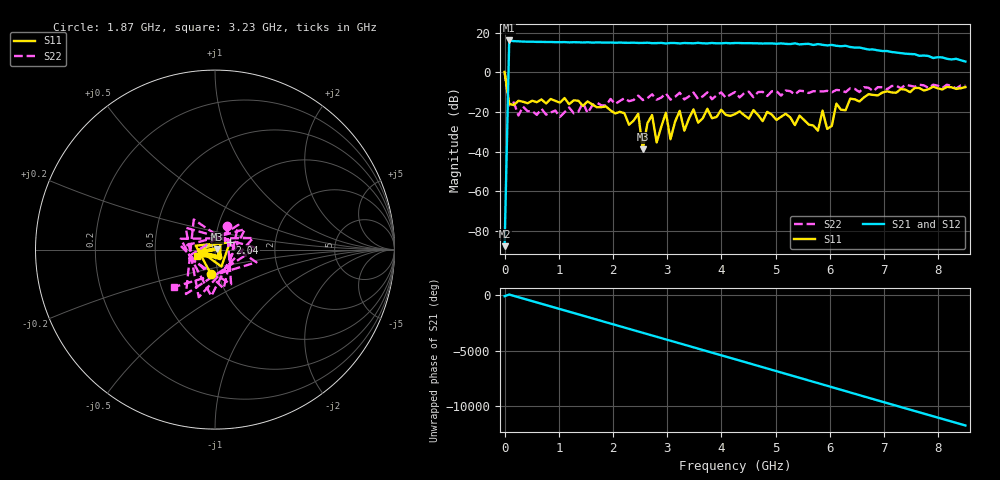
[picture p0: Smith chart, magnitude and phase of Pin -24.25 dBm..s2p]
! RsaToolbox (C) 2013 Rohde & Schwarz America
! Number of points: 101
! Number of ports: 2
! Balanced ports?: 0
# Hz S RI R 50
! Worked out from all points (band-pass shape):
!   101 points, 9 kHz to 8.5 GHz, reference 50 ohm
!   highest |S21| = 16.10 dB at 85.01 MHz (marker M1); lowest = -87.7 dB at 9 kHz (marker M2)
!   |S21| within 3 dB of the highest: 82.55 MHz to 6.333 GHz (6.251 GHz wide, 195 % of centre)
!   lowest |S11| = -38.8 dB at 2.55 GHz (marker M3), VSWR 1.02, Z = 51.1 + j0.226 ohm
!   |S11| at or under -10 dB: 53.73 MHz to 6.993 GHz (6.939 GHz wide, 197 % of centre); 7.119 GHz to 7.237 GHz (117.1 MHz wide, 1.63 % of centre)
!   |S22| runs from -22.5 to 0.0 dB; largest |S21 - S12| = 0
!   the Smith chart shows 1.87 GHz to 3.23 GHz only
!   S11 on the Smith chart (normalised r, x): 1.87 GHz: 0.92, -0.26; 2.04 GHz: 1.18, +0.10; 3.23 GHz: 0.81, -0.06
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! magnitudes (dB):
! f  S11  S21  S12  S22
! 9 kHz  0.2  -87.7  -87.7  0.0
! 85.01 MHz  -16.0  16.1  16.1  -16.6
! 1.02 GHz  -15.3  15.2  15.2  -22.5
! 1.445 GHz  -16.9  15.1  15.1  -15.3
! 1.87 GHz  -17.2  15.0  15.0  -16.6
! 2.04 GHz  -20.7  15.0  15.0  -15.9
! 2.465 GHz  -20.9  14.8  14.8  -11.7
! 2.55 GHz  -38.8  14.9  14.9  -14.0
! 2.72 GHz  -21.5  14.7  14.7  -11.0
! 2.805 GHz  -35.3  14.8  14.8  -13.8
! 2.89 GHz  -27.4  14.9  14.9  -12.7
! 2.975 GHz  -20.4  14.6  14.6  -10.6
! 3.06 GHz  -33.7  14.8  14.8  -13.7
! 3.23 GHz  -19.4  14.6  14.6  -10.2
! 3.315 GHz  -29.4  14.8  14.8  -13.6
! 3.485 GHz  -18.7  14.7  14.7  -10.2
! 3.57 GHz  -25.4  14.9  14.9  -13.5
! 4.25 GHz  -21.1  14.8  14.8  -9.9
! 5.695 GHz  -26.8  13.8  13.8  -9.5
! 6.12 GHz  -15.8  13.4  13.4  -8.8
! 7.14 GHz  -10.1  10.3  10.3  -6.9
! 8.5 GHz  -7.4  5.5  5.5  -6.7
